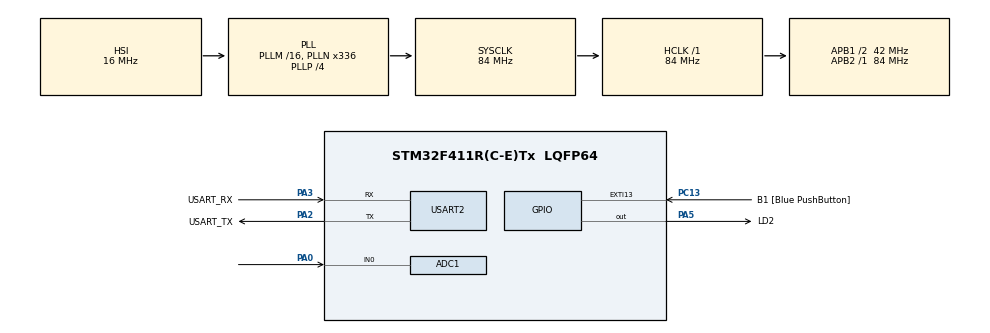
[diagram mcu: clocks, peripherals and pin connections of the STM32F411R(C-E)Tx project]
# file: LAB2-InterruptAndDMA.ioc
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ADC1.Channel-0\#ChannelRegularConversion=ADC_CHANNEL_0
ADC1.Channel-1\#ChannelRegularConversion=ADC_CHANNEL_TEMPSENSOR
ADC1.ContinuousConvMode=ENABLE
ADC1.DMAContinuousRequests=ENABLE
ADC1.EOCSelection=ADC_EOC_SEQ_CONV
ADC1.NbrOfConversion=2
ADC1.NbrOfConversionFlag=1
ADC1.Rank-0\#ChannelRegularConversion=1
ADC1.Rank-1\#ChannelRegularConversion=2
ADC1.SamplingTime-0\#ChannelRegularConversion=ADC_SAMPLETIME_84CYCLES
ADC1.SamplingTime-1\#ChannelRegularConversion=ADC_SAMPLETIME_84CYCLES
ADC1.ScanConvMode=ENABLE
ADC1.master=1
Dma.ADC1.0.Direction=DMA_PERIPH_TO_MEMORY
Dma.ADC1.0.FIFOMode=DMA_FIFOMODE_DISABLE
Dma.ADC1.0.Instance=DMA2_Stream0
Dma.ADC1.0.MemDataAlignment=DMA_MDATAALIGN_HALFWORD
Dma.ADC1.0.MemInc=DMA_MINC_ENABLE
Dma.ADC1.0.Mode=DMA_CIRCULAR
Dma.ADC1.0.PeriphDataAlignment=DMA_PDATAALIGN_HALFWORD
Dma.ADC1.0.PeriphInc=DMA_PINC_DISABLE
Dma.ADC1.0.Priority=DMA_PRIORITY_LOW
Dma.Request0=ADC1
Mcu.Family=STM32F4
Mcu.Name=STM32F411R(C-E)Tx
Mcu.Package=LQFP64
NVIC.ADC_IRQn=true\:0\:0\:false\:false\:true\:true\:true\:true
NVIC.DMA2_Stream0_IRQn=true\:0\:0\:false\:false\:true\:false\:true\:true
NVIC.EXTI15_10_IRQn=true\:0\:0\:false\:false\:true\:true\:true\:true
NVIC.PriorityGroup=NVIC_PRIORITYGROUP_0
PA0-WKUP.Signal=ADCx_IN0
PA13.GPIO_Label=TMS
PA13.Mode=Serial_Wire
PA13.Signal=SYS_JTMS-SWDIO
PA14.GPIO_Label=TCK
PA14.Mode=Serial_Wire
PA14.Signal=SYS_JTCK-SWCLK
PA2.GPIO_Label=USART_TX
PA2.Mode=Asynchronous
PA2.Signal=USART2_TX
PA3.GPIO_Label=USART_RX
PA3.Mode=Asynchronous
PA3.Signal=USART2_RX
PA5.GPIO_Label=LD2
PA5.Signal=GPIO_Output
PB3.GPIO_Label=SWO
PB3.Signal=SYS_JTDO-SWO
PC13-ANTI_TAMP.GPIO_Label=B1 [Blue PushButton]
PC13-ANTI_TAMP.GPIO_ModeDefaultEXTI=GPIO_MODE_IT_FALLING
PC13-ANTI_TAMP.Signal=GPXTI13
PC14-OSC32_IN.Mode=LSE-External-Oscillator
PC14-OSC32_IN.Signal=RCC_OSC32_IN
PC15-OSC32_OUT.Mode=LSE-External-Oscillator
PC15-OSC32_OUT.Signal=RCC_OSC32_OUT
PH0\ -\ OSC_IN.Mode=HSE-External-Clock-Source
PH0\ -\ OSC_IN.Signal=RCC_OSC_IN
PH1\ -\ OSC_OUT.Mode=HSE-External-Clock-Source
PH1\ -\ OSC_OUT.Signal=RCC_OSC_OUT
ProjectManager.HeapSize=0x200
ProjectManager.StackSize=0x400
ProjectManager.TargetToolchain=STM32CubeIDE
RCC.48MHZClocksFreq_Value=84000000
RCC.AHBFreq_Value=84000000
RCC.APB1CLKDivider=RCC_HCLK_DIV2
RCC.APB1Freq_Value=42000000
RCC.APB1TimFreq_Value=84000000
RCC.APB2Freq_Value=84000000
RCC.APB2TimFreq_Value=84000000
RCC.CortexFreq_Value=84000000
RCC.FLatency-AdvancedSettings=FLASH_LATENCY_2
RCC.HCLKFreq_Value=84000000
RCC.HSE_VALUE=8000000
RCC.HSI_VALUE=16000000
RCC.PLLN=336
RCC.PLLP=RCC_PLLP_DIV4
RCC.SYSCLKFreq_VALUE=84000000
RCC.SYSCLKSource=RCC_SYSCLKSOURCE_PLLCLK
RCC.VCOOutputFreq_Value=336000000
SH.ADCx_IN0.0=ADC1_IN0,IN0
USART2.VirtualMode=VM_ASYNC
VP_ADC1_TempSens_Input.Mode=IN-TempSens
board=NUCLEO-F411RE

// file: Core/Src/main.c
/* USER CODE BEGIN Header */
/**
 ******************************************************************************
 * @file           : main.c
 * @brief          : Main program body
 ******************************************************************************
 * @attention
 *
 * Copyright (c) 2023 STMicroelectronics.
 * All rights reserved.
 *
 * This software is licensed under terms that can be found in the LICENSE file
 * in the root directory of this software component.
 * If no LICENSE file comes with this software, it is provided AS-IS.
 *
 ******************************************************************************
 */
/* USER CODE END Header */
#include "main.h"

ADC_HandleTypeDef hadc1;
DMA_HandleTypeDef hdma_adc1;

UART_HandleTypeDef huart2;

/* USER CODE BEGIN PV */
typedef struct {
	uint16_t adcIN0;
	uint16_t adcTemp;
} DMAADCBuffer;

DMAADCBuffer adcBuffer[10];

uint16_t avgVolt = 0;
uint16_t Volt = 0;

uint16_t avgTempC = 0;
uint16_t TempK = 0;

/* USER CODE END PV */

void SystemClock_Config(void);
static void MX_GPIO_Init(void);
static void MX_DMA_Init(void);
static void MX_USART2_UART_Init(void);
static void MX_ADC1_Init(void);
/* USER CODE BEGIN PFP */
void ADCvalueConverter();
/* USER CODE END PFP */

int main(void)
{

  /* MCU Configuration--------------------------------------------------------*/

  /* Reset of all peripherals, Initializes the Flash interface and the Systick. */
  HAL_Init();

  /* Configure the system clock */
  SystemClock_Config();

  /* Initialize all configured peripherals */
  MX_GPIO_Init();
  MX_DMA_Init();
  MX_USART2_UART_Init();
  MX_ADC1_Init();

  /* Infinite loop */
  /* USER CODE BEGIN WHILE */
  	HAL_ADC_Start_DMA(&hadc1, (uint32_t*) adcBuffer, 20);
	while (1) {
    /* USER CODE END WHILE */

    /* USER CODE BEGIN 3 */

		static uint32_t timeStamp = 0;
		if (HAL_GetTick() >= timeStamp) {
			timeStamp = HAL_GetTick() + 1000;
			ADCvalueConverter();
		}

	}
  /* USER CODE END 3 */
}

void SystemClock_Config(void)
{
  RCC_OscInitTypeDef RCC_OscInitStruct = {0};
  RCC_ClkInitTypeDef RCC_ClkInitStruct = {0};

  /** Configure the main internal regulator output voltage
  */
  __HAL_RCC_PWR_CLK_ENABLE();
  __HAL_PWR_VOLTAGESCALING_CONFIG(PWR_REGULATOR_VOLTAGE_SCALE1);

  /** Initializes the RCC Oscillators according to the specified parameters
  * in the RCC_OscInitTypeDef structure.
  */
  RCC_OscInitStruct.OscillatorType = RCC_OSCILLATORTYPE_HSI;
  RCC_OscInitStruct.HSIState = RCC_HSI_ON;
  RCC_OscInitStruct.HSICalibrationValue = RCC_HSICALIBRATION_DEFAULT;
  RCC_OscInitStruct.PLL.PLLState = RCC_PLL_ON;
  RCC_OscInitStruct.PLL.PLLSource = RCC_PLLSOURCE_HSI;
  RCC_OscInitStruct.PLL.PLLM = 16;
  RCC_OscInitStruct.PLL.PLLN = 336;
  RCC_OscInitStruct.PLL.PLLP = RCC_PLLP_DIV4;
  RCC_OscInitStruct.PLL.PLLQ = 4;
  if (HAL_RCC_OscConfig(&RCC_OscInitStruct) != HAL_OK)
  {
    Error_Handler();
  }

  /** Initializes the CPU, AHB and APB buses clocks
  */
  RCC_ClkInitStruct.ClockType = RCC_CLOCKTYPE_HCLK|RCC_CLOCKTYPE_SYSCLK
                              |RCC_CLOCKTYPE_PCLK1|RCC_CLOCKTYPE_PCLK2;
  RCC_ClkInitStruct.SYSCLKSource = RCC_SYSCLKSOURCE_PLLCLK;
  RCC_ClkInitStruct.AHBCLKDivider = RCC_SYSCLK_DIV1;
  RCC_ClkInitStruct.APB1CLKDivider = RCC_HCLK_DIV2;
  RCC_ClkInitStruct.APB2CLKDivider = RCC_HCLK_DIV1;

  if (HAL_RCC_ClockConfig(&RCC_ClkInitStruct, FLASH_LATENCY_2) != HAL_OK)
  {
    Error_Handler();
  }
}

static void MX_ADC1_Init(void)
{

  ADC_ChannelConfTypeDef sConfig = {0};

  /** Configure the global features of the ADC (Clock, Resolution, Data Alignment and number of conversion)
  */
  hadc1.Instance = ADC1;
  hadc1.Init.ClockPrescaler = ADC_CLOCK_SYNC_PCLK_DIV4;
  hadc1.Init.Resolution = ADC_RESOLUTION_12B;
  hadc1.Init.ScanConvMode = ENABLE;
  hadc1.Init.ContinuousConvMode = ENABLE;
  hadc1.Init.DiscontinuousConvMode = DISABLE;
  hadc1.Init.ExternalTrigConvEdge = ADC_EXTERNALTRIGCONVEDGE_NONE;
  hadc1.Init.ExternalTrigConv = ADC_SOFTWARE_START;
  hadc1.Init.DataAlign = ADC_DATAALIGN_RIGHT;
  hadc1.Init.NbrOfConversion = 2;
  hadc1.Init.DMAContinuousRequests = ENABLE;
  hadc1.Init.EOCSelection = ADC_EOC_SEQ_CONV;
  if (HAL_ADC_Init(&hadc1) != HAL_OK)
  {
    Error_Handler();
  }

  /** Configure for the selected ADC regular channel its corresponding rank in the sequencer and its sample time.
  */
  sConfig.Channel = ADC_CHANNEL_0;
  sConfig.Rank = 1;
  sConfig.SamplingTime = ADC_SAMPLETIME_84CYCLES;
  if (HAL_ADC_ConfigChannel(&hadc1, &sConfig) != HAL_OK)
  {
    Error_Handler();
  }

  /** Configure for the selected ADC regular channel its corresponding rank in the sequencer and its sample time.
  */
  sConfig.Channel = ADC_CHANNEL_TEMPSENSOR;
  sConfig.Rank = 2;
  if (HAL_ADC_ConfigChannel(&hadc1, &sConfig) != HAL_OK)
  {
    Error_Handler();
  }

}

static void MX_USART2_UART_Init(void)
{

  huart2.Instance = USART2;
  huart2.Init.BaudRate = 115200;
  huart2.Init.WordLength = UART_WORDLENGTH_8B;
  huart2.Init.StopBits = UART_STOPBITS_1;
  huart2.Init.Parity = UART_PARITY_NONE;
  huart2.Init.Mode = UART_MODE_TX_RX;
  huart2.Init.HwFlowCtl = UART_HWCONTROL_NONE;
  huart2.Init.OverSampling = UART_OVERSAMPLING_16;
  if (HAL_UART_Init(&huart2) != HAL_OK)
  {
    Error_Handler();
  }

}

static void MX_DMA_Init(void)
{

  /* DMA controller clock enable */
  __HAL_RCC_DMA2_CLK_ENABLE();

  /* DMA interrupt init */
  /* DMA2_Stream0_IRQn interrupt configuration */
  HAL_NVIC_SetPriority(DMA2_Stream0_IRQn, 0, 0);
  HAL_NVIC_EnableIRQ(DMA2_Stream0_IRQn);

}

static void MX_GPIO_Init(void)
{
  GPIO_InitTypeDef GPIO_InitStruct = {0};

  /* GPIO Ports Clock Enable */
  __HAL_RCC_GPIOC_CLK_ENABLE();
  __HAL_RCC_GPIOH_CLK_ENABLE();
  __HAL_RCC_GPIOA_CLK_ENABLE();
  __HAL_RCC_GPIOB_CLK_ENABLE();

  /*Configure GPIO pin Output Level */
  HAL_GPIO_WritePin(LD2_GPIO_Port, LD2_Pin, GPIO_PIN_RESET);

  /*Configure GPIO pin : B1_Pin */
  GPIO_InitStruct.Pin = B1_Pin;
  GPIO_InitStruct.Mode = GPIO_MODE_IT_FALLING;
  GPIO_InitStruct.Pull = GPIO_NOPULL;
  HAL_GPIO_Init(B1_GPIO_Port, &GPIO_InitStruct);

  /*Configure GPIO pin : LD2_Pin */
  GPIO_InitStruct.Pin = LD2_Pin;
  GPIO_InitStruct.Mode = GPIO_MODE_OUTPUT_PP;
  GPIO_InitStruct.Pull = GPIO_NOPULL;
  GPIO_InitStruct.Speed = GPIO_SPEED_FREQ_LOW;
  HAL_GPIO_Init(LD2_GPIO_Port, &GPIO_InitStruct);

  /* EXTI interrupt init*/
  HAL_NVIC_SetPriority(EXTI15_10_IRQn, 0, 0);
  HAL_NVIC_EnableIRQ(EXTI15_10_IRQn);

}

/* USER CODE BEGIN 4 */

void ADCvalueConverter() {
	for (uint8_t i = 0; i < 10; i++) {
		if(i == 0){
			avgVolt = 0;
			avgTempC = 0;
		}
		avgVolt += adcBuffer[i].adcIN0;
		avgTempC += adcBuffer[i].adcTemp;
		if(i == 9){
			avgVolt /= 10;
			avgTempC /= 10;
		}
	}

	Volt = (((avgVolt * 3.3) / 4096)* 1000)* 2;
	//V25 = 757 mV
	TempK = (((((avgTempC * 3.3)/ 4096)*1000)- 760)/ 2.5) + 25 + 273.15;

}
/* USER CODE END 4 */

void Error_Handler(void)
{
	__disable_irq();
	while (1) {
	}
}
